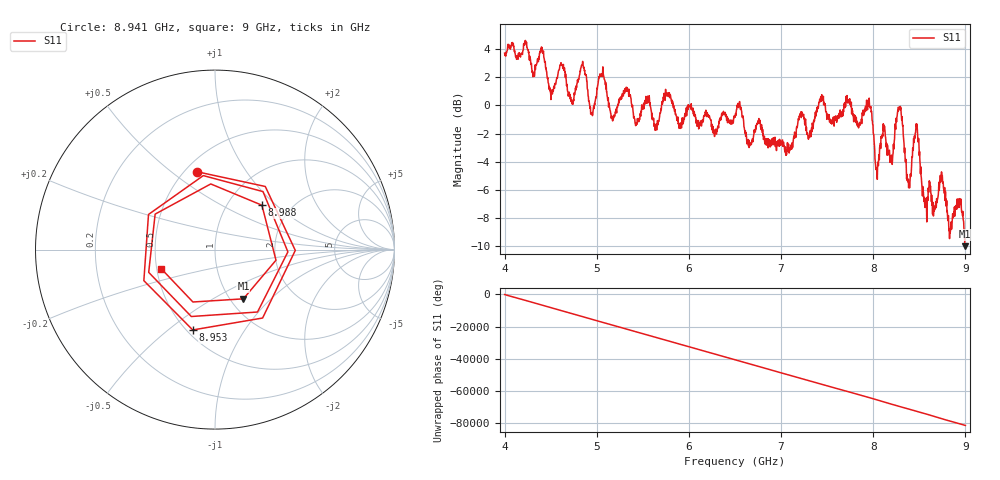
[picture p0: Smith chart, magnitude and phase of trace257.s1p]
! Created with skrf 1.8.0 (http://scikit-rf.org).
# Hz S RI R 50.0
!freq ReS11 ImS11
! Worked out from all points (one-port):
!   1601 points, 4 GHz to 9 GHz, reference 50 ohm
!   lowest |S11| = -10.0 dB at 8.994 GHz (marker M1), VSWR 1.93, Z = 57.4 - j35 ohm
!   |S11| at or under -10 dB: nowhere
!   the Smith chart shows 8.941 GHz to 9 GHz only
!   S11 on the Smith chart (normalised r, x): 8.941 GHz: 0.57, +0.62; 8.953 GHz: 0.54, -0.61; 8.988 GHz: 1.43, +0.82; 9 GHz: 0.53, -0.12
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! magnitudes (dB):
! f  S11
! 4 GHz  3.7
! 4.403 GHz  4.0
! 4.506 GHz  0.8
! 4.625 GHz  2.9
! 4.728 GHz  0.3
! 4.844 GHz  2.9
! 4.947 GHz  -0.6
! 5.05 GHz  2.1
! 5.162 GHz  -0.8
! 5.25 GHz  0.5
! 5.875 GHz  -0.9
! 6.5 GHz  -0.8
! 7.125 GHz  -3.0
! 7.434 GHz  0.5
! 7.75 GHz  0.1
! 7.959 GHz  0.1
! 8.041 GHz  -4.7
! 8.109 GHz  -1.3
! 8.203 GHz  -4.2
! 8.288 GHz  -0.2
! 8.375 GHz  -5.4
! 8.469 GHz  -1.5
! 8.559 GHz  -7.0
! 8.941 GHz  -7.0
! 8.953 GHz  -6.7
! 8.988 GHz  -8.9
! 8.994 GHz  -10.0
! 9 GHz  -9.9
